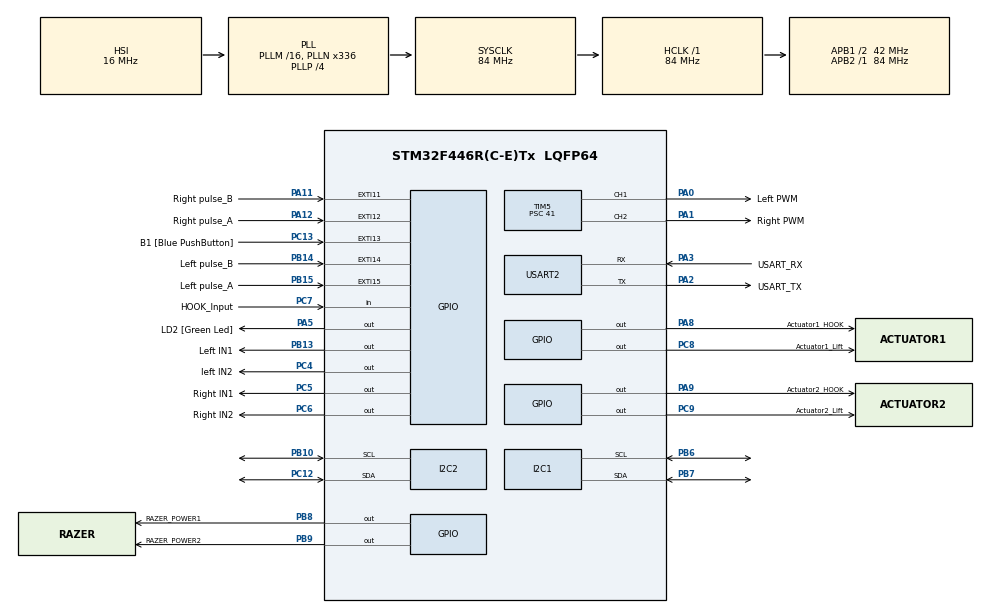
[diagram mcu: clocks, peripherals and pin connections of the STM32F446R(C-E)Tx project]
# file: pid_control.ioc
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Mcu.Family=STM32F4
Mcu.Name=STM32F446R(C-E)Tx
Mcu.Package=LQFP64
NVIC.EXTI15_10_IRQn=true\:0\:1\:false\:false\:true\:true\:true\:true
NVIC.PriorityGroup=NVIC_PRIORITYGROUP_0
NVIC.TIM2_IRQn=true\:0\:1\:false\:false\:true\:true\:true\:true
NVIC.TIM3_IRQn=true\:0\:0\:false\:false\:true\:true\:true\:true
NVIC.TIM5_IRQn=true\:0\:1\:false\:false\:true\:true\:true\:true
NVIC.USART2_IRQn=true\:0\:1\:false\:false\:true\:true\:true\:true
PA0-WKUP.GPIO_Label=Left PWM
PA0-WKUP.Signal=S_TIM5_CH1
PA1.GPIO_Label=Right PWM
PA1.Signal=S_TIM5_CH2
PA11.GPIO_Label=Right pulse_B
PA11.GPIO_ModeDefaultEXTI=GPIO_MODE_IT_RISING_FALLING
PA11.GPIO_PuPd=GPIO_NOPULL
PA11.Signal=GPXTI11
PA12.GPIO_Label=Right pulse_A
PA12.GPIO_ModeDefaultEXTI=GPIO_MODE_IT_RISING_FALLING
PA12.GPIO_PuPd=GPIO_NOPULL
PA12.Signal=GPXTI12
PA13.GPIO_Label=TMS
PA13.Mode=Serial_Wire
PA13.Signal=SYS_JTMS-SWDIO
PA14.GPIO_Label=TCK
PA14.Mode=Serial_Wire
PA14.Signal=SYS_JTCK-SWCLK
PA2.GPIO_Label=USART_TX
PA2.Mode=Asynchronous
PA2.Signal=USART2_TX
PA3.GPIO_Label=USART_RX
PA3.Mode=Asynchronous
PA3.Signal=USART2_RX
PA5.GPIO_Label=LD2 [Green Led]
PA5.Signal=GPIO_Output
PA8.GPIO_Label=Actuator1_HOOK
PA8.Signal=GPIO_Output
PA9.GPIO_Label=Actuator2_HOOK
PA9.Signal=GPIO_Output
PB10.Mode=I2C
PB10.Signal=I2C2_SCL
PB13.GPIO_Label=Left IN1
PB13.Signal=GPIO_Output
PB14.GPIO_Label=Left pulse_B
PB14.GPIO_ModeDefaultEXTI=GPIO_MODE_IT_RISING_FALLING
PB14.GPIO_PuPd=GPIO_NOPULL
PB14.Signal=GPXTI14
PB15.GPIO_Label=Left pulse_A
PB15.GPIO_ModeDefaultEXTI=GPIO_MODE_IT_RISING_FALLING
PB15.GPIO_PuPd=GPIO_NOPULL
PB15.Signal=GPXTI15
PB3.GPIO_Label=SWO
PB3.Signal=SYS_JTDO-SWO
PB6.GPIO_Pu=GPIO_NOPULL
PB6.Mode=I2C
PB6.Signal=I2C1_SCL
PB7.GPIO_Pu=GPIO_NOPULL
PB7.Mode=I2C
PB7.Signal=I2C1_SDA
PB8.GPIO_Label=RAZER_POWER1
PB8.Signal=GPIO_Output
PB9.GPIO_Label=RAZER_POWER2
PB9.Signal=GPIO_Output
PC12.Mode=I2C
PC12.Signal=I2C2_SDA
PC13.GPIO_Label=B1 [Blue PushButton]
PC13.GPIO_ModeDefaultEXTI=GPIO_MODE_IT_FALLING
PC13.Signal=GPXTI13
PC14-OSC32_IN.Mode=LSE-External-Oscillator
PC14-OSC32_IN.Signal=RCC_OSC32_IN
PC15-OSC32_OUT.Mode=LSE-External-Oscillator
PC15-OSC32_OUT.Signal=RCC_OSC32_OUT
PC4.GPIO_Label=left IN2
PC4.Signal=GPIO_Output
PC5.GPIO_Label=Right IN1
PC5.Signal=GPIO_Output
PC6.GPIO_Label=Right IN2
PC6.Signal=GPIO_Output
PC7.GPIO_Label=HOOK_Input
PC7.GPIO_PuPd=GPIO_PULLUP
PC7.Signal=GPIO_Input
PC8.GPIO_Label=Actuator1_Lift
PC8.Signal=GPIO_Output
PC9.GPIO_Label=Actuator2_Lift
PC9.Signal=GPIO_Output
PH0-OSC_IN.Mode=HSE-External-Oscillator
PH0-OSC_IN.Signal=RCC_OSC_IN
PH1-OSC_OUT.Mode=HSE-External-Oscillator
PH1-OSC_OUT.Signal=RCC_OSC_OUT
ProjectManager.HeapSize=0x200
ProjectManager.StackSize=0x400
ProjectManager.TargetToolchain=STM32CubeIDE
RCC.48MHZClocksFreq_Value=84000000
RCC.AHBFreq_Value=84000000
RCC.APB1CLKDivider=RCC_HCLK_DIV2
RCC.APB1Freq_Value=42000000
RCC.APB1TimFreq_Value=84000000
RCC.APB2Freq_Value=84000000
RCC.APB2TimFreq_Value=84000000
RCC.CortexFreq_Value=84000000
RCC.FLatency-AdvancedSettings=FLASH_LATENCY_2
RCC.HCLKFreq_Value=84000000
RCC.HSE_VALUE=8000000
RCC.HSI_VALUE=16000000
RCC.PLLN=336
RCC.PLLP=RCC_PLLP_DIV4
RCC.SYSCLKFreq_VALUE=84000000
RCC.SYSCLKSource=RCC_SYSCLKSOURCE_PLLCLK
RCC.USBFreq_Value=168000000
RCC.VCOOutputFreq_Value=336000000
SH.S_TIM5_CH1.0=TIM5_CH1,PWM Generation1 CH1
SH.S_TIM5_CH2.0=TIM5_CH2,PWM Generation2 CH2
TIM2.Period=20000-1
TIM2.Prescaler=84-1
TIM3.Period=100-1
TIM3.Prescaler=84-1
TIM5.Channel-PWM\ Generation1\ CH1=TIM_CHANNEL_1
TIM5.Channel-PWM\ Generation2\ CH2=TIM_CHANNEL_2
TIM5.Period=255
TIM5.Prescaler=41
USART2.VirtualMode=VM_ASYNC
VP_TIM2_VS_ClockSourceINT.Mode=Internal
VP_TIM3_VS_ClockSourceINT.Mode=Internal
VP_TIM5_VS_ClockSourceINT.Mode=Internal
board=NUCLEO-F446RE

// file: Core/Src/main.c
/* USER CODE BEGIN Header */
/**
  ******************************************************************************
  * @file           : main.c
  * @brief          : Main program body
  ******************************************************************************
  * @attention
  *
  * Copyright (c) 2025 STMicroelectronics.
  * All rights reserved.
  *
  * This software is licensed under terms that can be found in the LICENSE file
  * in the root directory of this software component.
  * If no LICENSE file comes with this software, it is provided AS-IS.
  *
  ******************************************************************************
  */
/* USER CODE END Header */
#include "main.h"

/* USER CODE BEGIN Includes */
#include <stdio.h>
#include <math.h>
#include <stdlib.h>
#include <string.h>
#include "stm32f4xx.h"
#include "VL53L0X.h"

/* USER CODE END Includes */

/* USER CODE BEGIN PTD */
extern I2C_HandleTypeDef VL53L0X_I2C_Handler;

/* USER CODE END PTD */

I2C_HandleTypeDef hi2c1;
I2C_HandleTypeDef hi2c2;

TIM_HandleTypeDef htim2;
TIM_HandleTypeDef htim3;
TIM_HandleTypeDef htim5;

UART_HandleTypeDef huart2;

/* USER CODE BEGIN PV */
/*=======================================RAZER=======================================*/
statInfo_t_VL53L0X distanceL_stats;
statInfo_t_VL53L0X distanceR_stats;
uint16_t distanceL = 0; // volatile 추가
uint16_t distanceR = 0; // volatile 추가

#define FILTER_BUFFER_SIZE 10
volatile uint16_t distanceL_buffer[FILTER_BUFFER_SIZE] = {0};
volatile uint16_t distanceR_buffer[FILTER_BUFFER_SIZE] = {0};
int buffer_index_L = 0;
int buffer_index_R = 0;
/*=======================================RAZER=======================================*/
/* USER CODE END PV */

void SystemClock_Config(void);
static void MX_GPIO_Init(void);
static void MX_USART2_UART_Init(void);
static void MX_TIM5_Init(void);
static void MX_TIM2_Init(void);
static void MX_I2C1_Init(void);
static void MX_I2C2_Init(void);
static void MX_TIM3_Init(void);
/* USER CODE BEGIN PFP */
#ifdef __GNUC__
#define PUTCHAR_PROTOTYPE int __io_putchar(int ch)
#else
#define PUTCHAR_PROTOTYPE int fputc(int ch, FILE *f)
#endif

PUTCHAR_PROTOTYPE {
	if (ch == '\n')
		HAL_UART_Transmit(&huart2, (uint8_t*) "\r", 1, 0xFFFF);
	HAL_UART_Transmit(&huart2, (uint8_t*) &ch, 1, 0xFFFF);
	return ch;
}

/*=============================DT=============================*/
extern volatile uint32_t msTicks;   // SysTick 1ms 카운터
#define DT_S          0.039f      // 39 ms 고정 주기
/*=============================DT=============================*/

/*=========================Encoder value=========================*/
volatile int32_t left_encoder_value = 0;    //left
volatile int32_t right_encoder_value  = 0;  //right

volatile int32_t prev_count_L = 0;
volatile int32_t prev_count_R = 0;
/*=========================Encoder value=========================*/

/*============================motor============================*/
#define WHEEL_RADIUS    0.0625f    // 바퀴 반지름 (단위: m)
#define WHEEL_BASE      0.33f    // 바퀴 간 거리 (단위: m)
#define ENCODER_RES     3172       // 엔코더 분해능 (4체배 적용된 값)
volatile int32_t tow = 0;
volatile int32_t tow_applied = 0;
/*============================motor============================*/

/*=============================PID=============================*/
float Kp = 4, Kd = 1.6, Ki = 8;
float P_term = 0, D_term = 0, I_term = 0;
float pid = 0;

float Kp_a = 5, Kd_a = 1.3, Ki_a = 6.25;
float P_term_a = 0, D_term_a = 0, I_term_a = 0;
float pid_a = 0;

float error = 0;
float previous_error = 0;
float old_error = 0;

float error_a = 0;
float previous_error_a = 0;
float old_error_a = 0;

float speed = 0;
float speed_r = 0;

double angle = 0.0019808276504349264;   // will fix (rad/count)

/*=============================MID=============================*/
volatile int32_t delta_cnt_L = 0;
volatile int32_t delta_cnt_R = 0;
float   dtheta_L    = 0.0f;    // [rad]
float   dtheta_R    = 0.0f;    // [rad]
float   dist_L      = 0.0f;    // [m]
float   dist_R      = 0.0f;    // [m]
float   s_step      = 0.0f;    // [m/period]
float   theta_step  = 0.0f;    // [rad/period]
float   v_meas      = 0.0f;    // [m/s]
float   w_meas      = 0.0f;    // [rad/s]
/*=============================MID=============================*/

/*=============================PID=============================*/

/*=============================USART=============================*/
char rx_buffer[256];
char rx_data;
int rx_index = 0;

int stop_flag = 0;
int sent_flag = 0;  // 전송 여부 상태 저장

// 1. ROS에서 받은 선속도/각속도 값 (단위: m/s, rad/s)
float cmd_vel_x = 0.0;  // v
float cmd_vel_z = 0.0;  // w

/*=============================USART=============================*/

/*=============================DIR=============================*/
void check_move_state();
void check_move_state_r();
void motorControl(int in1, int in2);
void motorControl_r(int in1, int in2);

int control_1 = 0, control_2 = 1;
int control_1_r = 1, control_2_r = 0;

int move_state = 0;  // front:0 back:1
int move_state_r = 0;
/*=============================DIR=============================*/

/*=============================PWM=============================*/
void Pwm_Left(int pwm_input);
void Pwm_Right(int pwm_input);
void check_pwm();
void check_pwm_r();
/*=============================PWM=============================*/

/*=============================RK2=============================*/
double odom_x = 0.0;     // [m]
double odom_y = 0.0;     // [m]
double odom_th = 0.0;    // [rad]

double previous_odom_x = 0.0;
double previous_odom_y = 0.0;
double previous_odom_th = 0.0;

double value = 0.0;
double dtt = 0.0;

/*=============================RK2=============================*/

/*=============================RAZER=============================*/
void apply_sensor_config(void);
uint16_t get_filtered_distance(volatile uint16_t* buffer, int* index, uint16_t new_distance);
/*=============================RAZER=============================*/
/*=============================SWITCH=============================*/
void limited_switch();
int switch_flag = 0;
int switch_count = 0;
/*=============================SWITCH=============================*/

/* USER CODE END PFP */

int main(void)
{

  /* MCU Configuration--------------------------------------------------------*/

  /* Reset of all peripherals, Initializes the Flash interface and the Systick. */
  HAL_Init();

  /* Configure the system clock */
  SystemClock_Config();

  /* Initialize all configured peripherals */
  MX_GPIO_Init();
  MX_USART2_UART_Init();
  MX_TIM5_Init();
  MX_TIM2_Init();
  MX_I2C1_Init();
  MX_I2C2_Init();
  MX_TIM3_Init();
  /* USER CODE BEGIN 2 */

  /*----------------------------------------------------*/
  HAL_TIM_PWM_Start(&htim5, TIM_CHANNEL_1);
  HAL_TIM_PWM_Start(&htim5, TIM_CHANNEL_2);

  /*----------------------------------------------------*/

  /*----------------------------------------------------*/
  motorControl(control_1,  control_2);
  motorControl_r(control_1_r, control_2_r);

  /*----------------------------------------------------*/
  HAL_UART_Receive_IT(&huart2, (uint8_t*)&rx_data, 1);
  HAL_TIM_Base_Start_IT(&htim2);
  /*----------------------------------------------------*/
  SystemCoreClockUpdate();
  SysTick_Config(SystemCoreClock / 1000);
  /*----------------------------------------------------*/

	//  // --- 센서 초기화 ---
	HAL_GPIO_WritePin(RAZER_POWER1_GPIO_Port, RAZER_POWER1_Pin, GPIO_PIN_SET);
	HAL_GPIO_WritePin(RAZER_POWER2_GPIO_Port, RAZER_POWER2_Pin, GPIO_PIN_SET);

	VL53L0X_I2C_Handler = hi2c1;
	if (initVL53L0X(1, &hi2c1)) {
		apply_sensor_config(); // 안정적인 330ms 설정 적용
	}

	VL53L0X_I2C_Handler = hi2c2;
	if (initVL53L0X(1, &hi2c2)) {
		apply_sensor_config();
	}

	// --- 첫 측정 시작 ---
	VL53L0X_I2C_Handler = hi2c1;
	startSingleMeasurement_nonBlocking();
	VL53L0X_I2C_Handler = hi2c2;
	startSingleMeasurement_nonBlocking();
  /*----------------------------------------------------*/
  /* USER CODE END 2 */

  /* Infinite loop */
  /* USER CODE BEGIN WHILE */
	while (1) {

		limited_switch();

		//방향 제어
		motorControl(control_1, control_2);
		motorControl_r(control_1_r, control_2_r);
		//PWM 제어
		Pwm_Left(fabsf(speed));
		Pwm_Right(fabsf(speed_r));

		/******** PID only + v,w print (전역 변수만 사용) ********/
		if (msTicks >= 39) {
			dtt = msTicks;

			/*************************** TOW ******************************/
			if (tow == 1 && tow_applied == 0)
			{
				//KP,KI,KD 값 변경
			    Kp   = Kp   * 1.25f;   Ki   = Ki   * 1.20f;   Kd   = Kd   * 0.90f;
			    Kp_a = Kp_a * 1.30f;   Ki_a = Ki_a * 1.20f;   Kd_a = Kd_a * 0.90f;

			    previous_error = old_error = 0.0f;
			    previous_error_a = old_error_a = 0.0f;

			    tow_applied = 1;
			}
			/*************************** TOW ******************************/

			/*************************** RAZER ******************************/
			// --- 센서 상태 확인 및 데이터 수신 (논블로킹) ---
			VL53L0X_I2C_Handler = hi2c1;
			if (isMeasurementReady()) {
				uint16_t raw_distanceL = readMeasurementResult(
						&distanceL_stats);
				// 필터링 및 범위 제한 적용
				if (distanceL_stats.rangeStatus == 0
						|| distanceL_stats.rangeStatus == 11) {
					distanceL = get_filtered_distance(distanceL_buffer,
							&buffer_index_L, raw_distanceL);
				}
				startSingleMeasurement_nonBlocking(); // 다음 측정 시작
			}

			VL53L0X_I2C_Handler = hi2c2;
			if (isMeasurementReady()) {
				uint16_t raw_distanceR = readMeasurementResult(
						&distanceR_stats);
				if (distanceR_stats.rangeStatus == 0
						|| distanceR_stats.rangeStatus == 11) {
					distanceR = get_filtered_distance(distanceR_buffer,
							&buffer_index_R, raw_distanceR);
				}
				startSingleMeasurement_nonBlocking(); // 다음 측정 시작
			}
			/*************************** RAZER ******************************/
			// 1) 이번 주기 엔코더 증가량
			delta_cnt_L = left_encoder_value - prev_count_L;
			delta_cnt_R = right_encoder_value - prev_count_R;
			prev_count_L = left_encoder_value;
			prev_count_R = right_encoder_value;

			// 2) 바퀴 각도[rad] → 선형 이동[m]
			dtheta_L = (float) delta_cnt_L * (float) angle;  // angle: rad/count
			dtheta_R = (float) delta_cnt_R * (float) angle;
			dist_L = dtheta_L * WHEEL_RADIUS;
			dist_R = dtheta_R * WHEEL_RADIUS;

			// 3) 이번 주기 전진/회전 변위
			s_step = 0.5f * (dist_R + dist_L);            // [m/period]
			theta_step = (dist_R - dist_L) / WHEEL_BASE;      // [rad/period]

			/******************** RK2 ***********************/
			value = previous_odom_th + (theta_step * 0.5f);
			odom_x = previous_odom_x + (s_step * cosf(value));
			odom_y = previous_odom_y + (s_step * sinf(value));
			odom_th = previous_odom_th + theta_step;

			previous_odom_x = odom_x;
			previous_odom_y = odom_y;
			previous_odom_th = odom_th;

			// 4) 측정 속도 환산
			v_meas = s_step / (dtt * 0.001f);                       // [m/s]
			w_meas = theta_step / (dtt * 0.001f);                     // [rad/s]

			/******************** PID ***********************/
			// 목표속도 - 측정속도
			error = (cmd_vel_x - v_meas);
			error_a = (cmd_vel_z - w_meas);

			// 증분형(Delta) 형태
			P_term = (error - previous_error) * Kp;
			D_term = (error - 2.0f * previous_error + old_error) * Kd;
			I_term = error * Ki;
			pid = P_term + D_term + I_term;

			P_term_a = (error_a - previous_error_a) * Kp_a;
			D_term_a = (error_a - 2.0f * previous_error_a + old_error_a) * Kd_a;
			I_term_a = error_a * Ki_a;
			pid_a = P_term_a + D_term_a + I_term_a;

			if (stop_flag == 0) {
				// 차동 결합: 선형(pid) ± 회전(pid_a)
				speed = speed + pid - pid_a;
				speed_r = speed_r + pid + pid_a;
			} else {
				speed = speed - (speed) / 5.0f;
				speed_r = speed_r - (speed_r) / 5.0f;
			}

			// 상태 갱신
			old_error = previous_error;
			old_error_a = previous_error_a;
			previous_error = error;
			previous_error_a = error_a;

			// PWM/상태 체크
			check_pwm();
			check_pwm_r();
			check_move_state();
			check_move_state_r();

			if (cmd_vel_x == 0 && cmd_vel_z == 0) {
				stop_flag = 1;
			} else {
				stop_flag = 0;
			}

			printf("# %f %f %f %f %f %f | %f %f %d\n", odom_x, odom_y, odom_th,
					dtt, v_meas, w_meas, (float)distanceL, (float)distanceR, switch_flag);

		}

    /* USER CODE END WHILE */

	}
}

void SystemClock_Config(void)
{
  RCC_OscInitTypeDef RCC_OscInitStruct = {0};
  RCC_ClkInitTypeDef RCC_ClkInitStruct = {0};

  /** Configure the main internal regulator output voltage
  */
  __HAL_RCC_PWR_CLK_ENABLE();
  __HAL_PWR_VOLTAGESCALING_CONFIG(PWR_REGULATOR_VOLTAGE_SCALE3);

  /** Initializes the RCC Oscillators according to the specified parameters
  * in the RCC_OscInitTypeDef structure.
  */
  RCC_OscInitStruct.OscillatorType = RCC_OSCILLATORTYPE_HSI;
  RCC_OscInitStruct.HSIState = RCC_HSI_ON;
  RCC_OscInitStruct.HSICalibrationValue = RCC_HSICALIBRATION_DEFAULT;
  RCC_OscInitStruct.PLL.PLLState = RCC_PLL_ON;
  RCC_OscInitStruct.PLL.PLLSource = RCC_PLLSOURCE_HSI;
  RCC_OscInitStruct.PLL.PLLM = 16;
  RCC_OscInitStruct.PLL.PLLN = 336;
  RCC_OscInitStruct.PLL.PLLP = RCC_PLLP_DIV4;
  RCC_OscInitStruct.PLL.PLLQ = 2;
  RCC_OscInitStruct.PLL.PLLR = 2;
  if (HAL_RCC_OscConfig(&RCC_OscInitStruct) != HAL_OK)
  {
    Error_Handler();
  }

  /** Initializes the CPU, AHB and APB buses clocks
  */
  RCC_ClkInitStruct.ClockType = RCC_CLOCKTYPE_HCLK|RCC_CLOCKTYPE_SYSCLK
                              |RCC_CLOCKTYPE_PCLK1|RCC_CLOCKTYPE_PCLK2;
  RCC_ClkInitStruct.SYSCLKSource = RCC_SYSCLKSOURCE_PLLCLK;
  RCC_ClkInitStruct.AHBCLKDivider = RCC_SYSCLK_DIV1;
  RCC_ClkInitStruct.APB1CLKDivider = RCC_HCLK_DIV2;
  RCC_ClkInitStruct.APB2CLKDivider = RCC_HCLK_DIV1;

  if (HAL_RCC_ClockConfig(&RCC_ClkInitStruct, FLASH_LATENCY_2) != HAL_OK)
  {
    Error_Handler();
  }
}

static void MX_I2C1_Init(void)
{

  hi2c1.Instance = I2C1;
  hi2c1.Init.ClockSpeed = 100000;
  hi2c1.Init.DutyCycle = I2C_DUTYCYCLE_2;
  hi2c1.Init.OwnAddress1 = 0;
  hi2c1.Init.AddressingMode = I2C_ADDRESSINGMODE_7BIT;
  hi2c1.Init.DualAddressMode = I2C_DUALADDRESS_DISABLE;
  hi2c1.Init.OwnAddress2 = 0;
  hi2c1.Init.GeneralCallMode = I2C_GENERALCALL_DISABLE;
  hi2c1.Init.NoStretchMode = I2C_NOSTRETCH_DISABLE;
  if (HAL_I2C_Init(&hi2c1) != HAL_OK)
  {
    Error_Handler();
  }

}

static void MX_I2C2_Init(void)
{

  hi2c2.Instance = I2C2;
  hi2c2.Init.ClockSpeed = 100000;
  hi2c2.Init.DutyCycle = I2C_DUTYCYCLE_2;
  hi2c2.Init.OwnAddress1 = 0;
  hi2c2.Init.AddressingMode = I2C_ADDRESSINGMODE_7BIT;
  hi2c2.Init.DualAddressMode = I2C_DUALADDRESS_DISABLE;
  hi2c2.Init.OwnAddress2 = 0;
  hi2c2.Init.GeneralCallMode = I2C_GENERALCALL_DISABLE;
  hi2c2.Init.NoStretchMode = I2C_NOSTRETCH_DISABLE;
  if (HAL_I2C_Init(&hi2c2) != HAL_OK)
  {
    Error_Handler();
  }

}

static void MX_TIM2_Init(void)
{

  TIM_ClockConfigTypeDef sClockSourceConfig = {0};
  TIM_MasterConfigTypeDef sMasterConfig = {0};

  htim2.Instance = TIM2;
  htim2.Init.Prescaler = 84-1;
  htim2.Init.CounterMode = TIM_COUNTERMODE_UP;
  htim2.Init.Period = 20000-1;
  htim2.Init.ClockDivision = TIM_CLOCKDIVISION_DIV1;
  htim2.Init.AutoReloadPreload = TIM_AUTORELOAD_PRELOAD_DISABLE;
  if (HAL_TIM_Base_Init(&htim2) != HAL_OK)
  {
    Error_Handler();
  }
  sClockSourceConfig.ClockSource = TIM_CLOCKSOURCE_INTERNAL;
  if (HAL_TIM_ConfigClockSource(&htim2, &sClockSourceConfig) != HAL_OK)
  {
    Error_Handler();
  }
  sMasterConfig.MasterOutputTrigger = TIM_TRGO_RESET;
  sMasterConfig.MasterSlaveMode = TIM_MASTERSLAVEMODE_DISABLE;
  if (HAL_TIMEx_MasterConfigSynchronization(&htim2, &sMasterConfig) != HAL_OK)
  {
    Error_Handler();
  }

}

static void MX_TIM3_Init(void)
{

  TIM_ClockConfigTypeDef sClockSourceConfig = {0};
  TIM_MasterConfigTypeDef sMasterConfig = {0};

  htim3.Instance = TIM3;
  htim3.Init.Prescaler = 84-1;
  htim3.Init.CounterMode = TIM_COUNTERMODE_UP;
  htim3.Init.Period = 100-1;
  htim3.Init.ClockDivision = TIM_CLOCKDIVISION_DIV1;
  htim3.Init.AutoReloadPreload = TIM_AUTORELOAD_PRELOAD_DISABLE;
  if (HAL_TIM_Base_Init(&htim3) != HAL_OK)
  {
    Error_Handler();
  }
  sClockSourceConfig.ClockSource = TIM_CLOCKSOURCE_INTERNAL;
  if (HAL_TIM_ConfigClockSource(&htim3, &sClockSourceConfig) != HAL_OK)
  {
    Error_Handler();
  }
  sMasterConfig.MasterOutputTrigger = TIM_TRGO_RESET;
  sMasterConfig.MasterSlaveMode = TIM_MASTERSLAVEMODE_DISABLE;
  if (HAL_TIMEx_MasterConfigSynchronization(&htim3, &sMasterConfig) != HAL_OK)
  {
    Error_Handler();
  }

}

static void MX_TIM5_Init(void)
{

  TIM_ClockConfigTypeDef sClockSourceConfig = {0};
  TIM_MasterConfigTypeDef sMasterConfig = {0};
  TIM_OC_InitTypeDef sConfigOC = {0};

  htim5.Instance = TIM5;
  htim5.Init.Prescaler = 41;
  htim5.Init.CounterMode = TIM_COUNTERMODE_UP;
  htim5.Init.Period = 255;
  htim5.Init.ClockDivision = TIM_CLOCKDIVISION_DIV1;
  htim5.Init.AutoReloadPreload = TIM_AUTORELOAD_PRELOAD_DISABLE;
  if (HAL_TIM_Base_Init(&htim5) != HAL_OK)
  {
    Error_Handler();
  }
  sClockSourceConfig.ClockSource = TIM_CLOCKSOURCE_INTERNAL;
  if (HAL_TIM_ConfigClockSource(&htim5, &sClockSourceConfig) != HAL_OK)
  {
    Error_Handler();
  }
  if (HAL_TIM_PWM_Init(&htim5) != HAL_OK)
  {
    Error_Handler();
  }
  sMasterConfig.MasterOutputTrigger = TIM_TRGO_RESET;
  sMasterConfig.MasterSlaveMode = TIM_MASTERSLAVEMODE_DISABLE;
  if (HAL_TIMEx_MasterConfigSynchronization(&htim5, &sMasterConfig) != HAL_OK)
  {
    Error_Handler();
  }
  sConfigOC.OCMode = TIM_OCMODE_PWM1;
  sConfigOC.Pulse = 0;
  sConfigOC.OCPolarity = TIM_OCPOLARITY_HIGH;
  sConfigOC.OCFastMode = TIM_OCFAST_DISABLE;
  if (HAL_TIM_PWM_ConfigChannel(&htim5, &sConfigOC, TIM_CHANNEL_1) != HAL_OK)
  {
    Error_Handler();
  }
  if (HAL_TIM_PWM_ConfigChannel(&htim5, &sConfigOC, TIM_CHANNEL_2) != HAL_OK)
  {
    Error_Handler();
  }
  HAL_TIM_MspPostInit(&htim5);

}

static void MX_USART2_UART_Init(void)
{

  huart2.Instance = USART2;
  huart2.Init.BaudRate = 115200;
  huart2.Init.WordLength = UART_WORDLENGTH_8B;
  huart2.Init.StopBits = UART_STOPBITS_1;
  huart2.Init.Parity = UART_PARITY_NONE;
  huart2.Init.Mode = UART_MODE_TX_RX;
  huart2.Init.HwFlowCtl = UART_HWCONTROL_NONE;
  huart2.Init.OverSampling = UART_OVERSAMPLING_16;
  if (HAL_UART_Init(&huart2) != HAL_OK)
  {
    Error_Handler();
  }

}

static void MX_GPIO_Init(void)
{
  GPIO_InitTypeDef GPIO_InitStruct = {0};

  /* GPIO Ports Clock Enable */
  __HAL_RCC_GPIOC_CLK_ENABLE();
  __HAL_RCC_GPIOH_CLK_ENABLE();
  __HAL_RCC_GPIOA_CLK_ENABLE();
  __HAL_RCC_GPIOB_CLK_ENABLE();

  /*Configure GPIO pin Output Level */
  HAL_GPIO_WritePin(GPIOA, LD2_Pin|Actuator1_HOOK_Pin|Actuator2_HOOK_Pin, GPIO_PIN_RESET);

  /*Configure GPIO pin Output Level */
  HAL_GPIO_WritePin(GPIOC, left_IN2_Pin|Right_IN1_Pin|Right_IN2_Pin|Actuator1_Lift_Pin
                          |Actuator2_Lift_Pin, GPIO_PIN_RESET);

  /*Configure GPIO pin Output Level */
  HAL_GPIO_WritePin(GPIOB, Left_IN1_Pin|RAZER_POWER1_Pin|RAZER_POWER2_Pin, GPIO_PIN_RESET);

  /*Configure GPIO pin : B1_Pin */
  GPIO_InitStruct.Pin = B1_Pin;
  GPIO_InitStruct.Mode = GPIO_MODE_IT_FALLING;
  GPIO_InitStruct.Pull = GPIO_NOPULL;
  HAL_GPIO_Init(B1_GPIO_Port, &GPIO_InitStruct);

  /*Configure GPIO pins : LD2_Pin Actuator1_HOOK_Pin Actuator2_HOOK_Pin */
  GPIO_InitStruct.Pin = LD2_Pin|Actuator1_HOOK_Pin|Actuator2_HOOK_Pin;
  GPIO_InitStruct.Mode = GPIO_MODE_OUTPUT_PP;
  GPIO_InitStruct.Pull = GPIO_NOPULL;
  GPIO_InitStruct.Speed = GPIO_SPEED_FREQ_LOW;
  HAL_GPIO_Init(GPIOA, &GPIO_InitStruct);

  /*Configure GPIO pins : left_IN2_Pin Right_IN1_Pin Right_IN2_Pin Actuator1_Lift_Pin
                           Actuator2_Lift_Pin */
  GPIO_InitStruct.Pin = left_IN2_Pin|Right_IN1_Pin|Right_IN2_Pin|Actuator1_Lift_Pin
                          |Actuator2_Lift_Pin;
  GPIO_InitStruct.Mode = GPIO_MODE_OUTPUT_PP;
  GPIO_InitStruct.Pull = GPIO_NOPULL;
  GPIO_InitStruct.Speed = GPIO_SPEED_FREQ_LOW;
  HAL_GPIO_Init(GPIOC, &GPIO_InitStruct);

  /*Configure GPIO pins : Left_IN1_Pin RAZER_POWER1_Pin RAZER_POWER2_Pin */
  GPIO_InitStruct.Pin = Left_IN1_Pin|RAZER_POWER1_Pin|RAZER_POWER2_Pin;
  GPIO_InitStruct.Mode = GPIO_MODE_OUTPUT_PP;
  GPIO_InitStruct.Pull = GPIO_NOPULL;
  GPIO_InitStruct.Speed = GPIO_SPEED_FREQ_LOW;
  HAL_GPIO_Init(GPIOB, &GPIO_InitStruct);

  /*Configure GPIO pins : Left_pulse_B_Pin Left_pulse_A_Pin */
  GPIO_InitStruct.Pin = Left_pulse_B_Pin|Left_pulse_A_Pin;
  GPIO_InitStruct.Mode = GPIO_MODE_IT_RISING_FALLING;
  GPIO_InitStruct.Pull = GPIO_NOPULL;
  HAL_GPIO_Init(GPIOB, &GPIO_InitStruct);

  /*Configure GPIO pin : HOOK_Input_Pin */
  GPIO_InitStruct.Pin = HOOK_Input_Pin;
  GPIO_InitStruct.Mode = GPIO_MODE_INPUT;
  GPIO_InitStruct.Pull = GPIO_PULLUP;
  HAL_GPIO_Init(HOOK_Input_GPIO_Port, &GPIO_InitStruct);

  /*Configure GPIO pins : Right_pulse_B_Pin Right_pulse_A_Pin */
  GPIO_InitStruct.Pin = Right_pulse_B_Pin|Right_pulse_A_Pin;
  GPIO_InitStruct.Mode = GPIO_MODE_IT_RISING_FALLING;
  GPIO_InitStruct.Pull = GPIO_NOPULL;
  HAL_GPIO_Init(GPIOA, &GPIO_InitStruct);

  /* EXTI interrupt init*/
  HAL_NVIC_SetPriority(EXTI15_10_IRQn, 0, 1);
  HAL_NVIC_EnableIRQ(EXTI15_10_IRQn);

}

/* USER CODE BEGIN 4 */

/*=========================Encoder value=========================*/
void HAL_GPIO_EXTI_Callback(uint16_t GPIO_Pin)
{

    if (GPIO_Pin == GPIO_PIN_15) // Left A
    {
        if (HAL_GPIO_ReadPin(GPIOB, GPIO_PIN_15) == HAL_GPIO_ReadPin(GPIOB, GPIO_PIN_14))
        {
            left_encoder_value--;
        }
        else
        {
            left_encoder_value++;
        }
    }
    else if (GPIO_Pin == GPIO_PIN_14) // Left B
    {
        if (HAL_GPIO_ReadPin(GPIOB, GPIO_PIN_15) == HAL_GPIO_ReadPin(GPIOB, GPIO_PIN_14))
        {
            left_encoder_value++;
        }
        else
        {
            left_encoder_value--;
        }
    }

    else if (GPIO_Pin == GPIO_PIN_12) // Right A
    {
        if (HAL_GPIO_ReadPin(GPIOA, GPIO_PIN_12) == HAL_GPIO_ReadPin(GPIOA, GPIO_PIN_11))
        {
            right_encoder_value++;
        }
        else
        {
            right_encoder_value--;
        }
    }
    else if (GPIO_Pin == GPIO_PIN_11) // Right B
    {
        if (HAL_GPIO_ReadPin(GPIOA, GPIO_PIN_12) == HAL_GPIO_ReadPin(GPIOA, GPIO_PIN_11))
        {
            right_encoder_value--;
        }
        else
        {
            right_encoder_value++;
        }
    }

    UNUSED(GPIO_Pin); // Prevent unused warning
}
/*=========================Encoder value=========================*/

/*=============================USART=============================*/
void HAL_UART_RxCpltCallback(UART_HandleTypeDef *huart) {
	if (huart->Instance == USART2) {
		if (rx_data != '\n') {
			rx_buffer[rx_index++] = rx_data;
		}
		else {
			rx_buffer[rx_index] = '\0';

			if (rx_buffer[0] == '1') {
				// 선속도 (cmd_vel_x) 추출
				char first_number[10];
				strncpy(first_number, &rx_buffer[2], 9);
				first_number[9] = '\0';
				cmd_vel_x = atof(first_number);
				if (rx_buffer[1] == '0') {
					cmd_vel_x = -cmd_vel_x;
				}

				// 각속도 (cmd_vel_z) 추출
				char second_number[10];
				strncpy(second_number, &rx_buffer[12], 9);
				second_number[9] = '\0';
				cmd_vel_z = atof(second_number);
				if (rx_buffer[11] == '0') {
					cmd_vel_z = -cmd_vel_z;
				}
			}
			else if (rx_buffer[0] == '3')
			{
                // 00
				HAL_GPIO_WritePin(GPIOA, GPIO_PIN_8, GPIO_PIN_RESET);
				HAL_GPIO_WritePin(GPIOA, GPIO_PIN_9, GPIO_PIN_RESET);
				HAL_GPIO_WritePin(GPIOC, GPIO_PIN_8, GPIO_PIN_RESET);
								HAL_GPIO_WritePin(GPIOC, GPIO_PIN_9, GPIO_PIN_RESET);
			}
			else if (rx_buffer[0] == '4')
			{
				//10
				HAL_GPIO_WritePin(GPIOA, GPIO_PIN_8, GPIO_PIN_SET);
				HAL_GPIO_WritePin(GPIOA, GPIO_PIN_9, GPIO_PIN_RESET);
				HAL_GPIO_WritePin(GPIOC, GPIO_PIN_8, GPIO_PIN_SET);
								HAL_GPIO_WritePin(GPIOC, GPIO_PIN_9, GPIO_PIN_RESET);
			}
			else if (rx_buffer[0] == '5')
			{

				//01
				HAL_GPIO_WritePin(GPIOA, GPIO_PIN_8, GPIO_PIN_RESET);
				HAL_GPIO_WritePin(GPIOA, GPIO_PIN_9, GPIO_PIN_SET);

				HAL_GPIO_WritePin(GPIOC, GPIO_PIN_8, GPIO_PIN_RESET);
								HAL_GPIO_WritePin(GPIOC, GPIO_PIN_9, GPIO_PIN_SET);
			}
			else if (rx_buffer[0] == '6')
			{
				NVIC_SystemReset();
			}
			// 수신 버퍼 초기화
			rx_index = 0;
			memset(rx_buffer, 0, sizeof(rx_buffer));
		}
	}

	HAL_UART_Receive_IT(&huart2, (uint8_t*)&rx_data, 1);
}
/*=============================USART=============================*/

/*=============================TIM=============================*/
void HAL_TIM_PeriodElapsedCallback(TIM_HandleTypeDef *htim) {
	if (htim->Instance == TIM2) {
		if (msTicks > 39) {
			msTicks = 0;
		}

	}
	if (htim->Instance == TIM3) {

		if (HAL_GPIO_ReadPin(GPIOC, GPIO_PIN_7) == 0) {
			if (switch_flag == 0) {
				switch_count++;
			}

			if (switch_count >= 50000) {

			    tow = 1;
				switch_count = 0;
				switch_flag = 1;
			}

		} else {
			switch_count = 0;
			switch_flag = 0;
		}

	}
}
/*=============================TIM=============================*/

/*=============================DIR=============================*/
void check_move_state() {
  if (speed >= 0) {
    move_state = 0;
    control_1 = 0; control_2 = 1;  // Forward
  } else {
    move_state = 1;
    control_1 = 1; control_2 = 0;  // Reverse
  }
}

void check_move_state_r() {
  if (speed_r >= 0) {
    move_state_r = 0;
    control_1_r = 1; control_2_r = 0;  // Forward
  } else {
    move_state_r = 1;
    control_1_r = 0; control_2_r = 1;  // Reverse
  }
}

void motorControl(int in1, int in2) {
	GPIO_PinState state1=GPIO_PIN_RESET,state2=GPIO_PIN_RESET;
	if(in1==1){
		state1=GPIO_PIN_SET;
	}
	else{
		state1=GPIO_PIN_RESET;
	}
	if(in2==1){
		state2=GPIO_PIN_SET;
	}
	else{
		state2=GPIO_PIN_RESET;
	}
	HAL_GPIO_WritePin(GPIOB, GPIO_PIN_13, state1);
	HAL_GPIO_WritePin(GPIOC, GPIO_PIN_4, state2);

}

void motorControl_r(int in1, int in2) {
	GPIO_PinState state1=GPIO_PIN_RESET,state2=GPIO_PIN_RESET;
	if(in1==1){
		state1=GPIO_PIN_SET;
	}
	else{
		state1=GPIO_PIN_RESET;
	}
	if(in2==1){
		state2=GPIO_PIN_SET;
	}
	else{
		state2=GPIO_PIN_RESET;
	}
	HAL_GPIO_WritePin(GPIOC, GPIO_PIN_5, state1);
 	HAL_GPIO_WritePin(GPIOC, GPIO_PIN_6, state2);
}
/*=============================DIR=============================*/

/*=============================PWM=============================*/
void check_pwm() {
	if (speed >= 180) {
		speed = 180;
	} else if (speed <= -180) {
		speed = -180;
	}
}

void check_pwm_r() {
	if (speed_r >= 180) {
		speed_r = 180;
	} else if (speed_r <= -180) {
		speed_r = -180;
	}
}

// 왼쪽 모터 PWM 제어 (pwm_value: 0~PWM_MAX)
void Pwm_Left(int pwm_input)
{

    htim5.Instance->CCR1 = pwm_input;
}

// 오른쪽 모터 PWM 제어 (pwm_value: 0~PWM_MAX)
void Pwm_Right(int pwm_input)
{

    htim5.Instance->CCR2 = pwm_input;
}
/*=============================PWM=============================*/

/*=======================================RAZER=======================================*/
void apply_sensor_config(void)
{
    setSignalRateLimit(200);
    setVcselPulsePeriod(VcselPeriodPreRange, 14);
    setVcselPulsePeriod(VcselPeriodFinalRange, 10);
    setMeasurementTimingBudget(330000UL); // 330ms
}

// 이동 평균 필터 및 범위 제한을 적용하는 함수
uint16_t get_filtered_distance(volatile uint16_t* buffer, int* index, uint16_t new_distance)
{
    // 1. 새 값을 버퍼에 저장 (오래된 값 덮어쓰기)
    buffer[*index] = new_distance;
    *index = (*index + 1) % FILTER_BUFFER_SIZE;

    // 2. 버퍼의 평균 계산
    long sum = 0;
    int valid_samples = 0;
    for (int i = 0; i < FILTER_BUFFER_SIZE; i++) {
        // 유효한 초기값이 들어왔을 때만 평균에 포함
        if (buffer[i] > 0 && buffer[i] < 8000) {
            sum += buffer[i];
            valid_samples++;
        }
    }

    uint16_t averaged_distance = 0;
    if (valid_samples > 0) {
        averaged_distance = sum / valid_samples;
    } else {
        return 8191; // 버퍼에 유효한 값이 하나도 없으면 에러 값 반환
    }

    // 3. 거리 제한 (0 ~ 1000mm)
    if (averaged_distance > 1000) {
        averaged_distance = 1000;
    }

    return averaged_distance;
}
/*=======================================RAZER=======================================*/

/*=======================================SWITCH=======================================*/
void limited_switch()
{
	if(HAL_GPIO_ReadPin(GPIOC, GPIO_PIN_7) == 0)
	{
		HAL_TIM_Base_Start_IT(&htim3);
	}
}
/*=======================================SWITCH=======================================*/
/*----------------------------------------------------*/
/* USER CODE END 4 */

void Error_Handler(void)
{
  __disable_irq();
  while (1)
  {
  }
}
